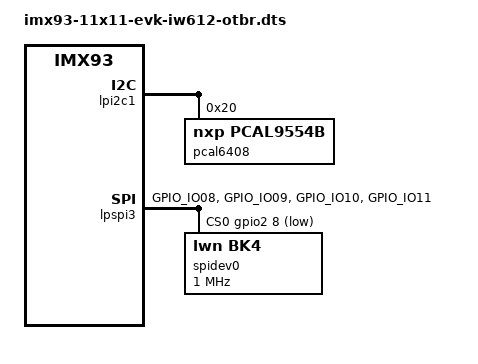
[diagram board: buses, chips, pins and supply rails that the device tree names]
// SPDX-License-Identifier: (GPL-2.0+ OR MIT)
/*
 * Copyright 2022 NXP
 */

#include "imx93-11x11-evk.dts"

&lpi2c1 {
    pinctrl-assert-gpios = <&pcal6524 13 GPIO_ACTIVE_HIGH>;
    pcal6408: gpio@20 {
        compatible = "nxp,pcal9554b";
        reg = <0x20>;
        gpio-controller;
        #gpio-cells = <2>;
        status = "okay";
    };
};

&lpspi3 {
    fsl,spi-num-chipselects = <1>;
    pinctrl-names = "default", "sleep";
    pinctrl-0 = <&pinctrl_lpspi3>;
    pinctrl-1 = <&pinctrl_lpspi3>;
    cs-gpios = <&gpio2 8 GPIO_ACTIVE_LOW>;
    pinctrl-assert-gpios = <&adp5585gpio 4 GPIO_ACTIVE_LOW>;
    status = "okay";

    spidev0: spi@0 {
        reg = <0>;
        compatible = "lwn,bk4";
        spi-max-frequency = <1000000>;
    };
};

&iomuxc {
    pinctrl_lpspi3: lpspi3grp {
        fsl,pins = <
            MX93_PAD_GPIO_IO08__GPIO2_IO08      0x3fe
            MX93_PAD_GPIO_IO09__LPSPI3_SIN      0x3fe
            MX93_PAD_GPIO_IO10__LPSPI3_SOUT     0x3fe
            MX93_PAD_GPIO_IO11__LPSPI3_SCK      0x3fe
        >;
    };
};
